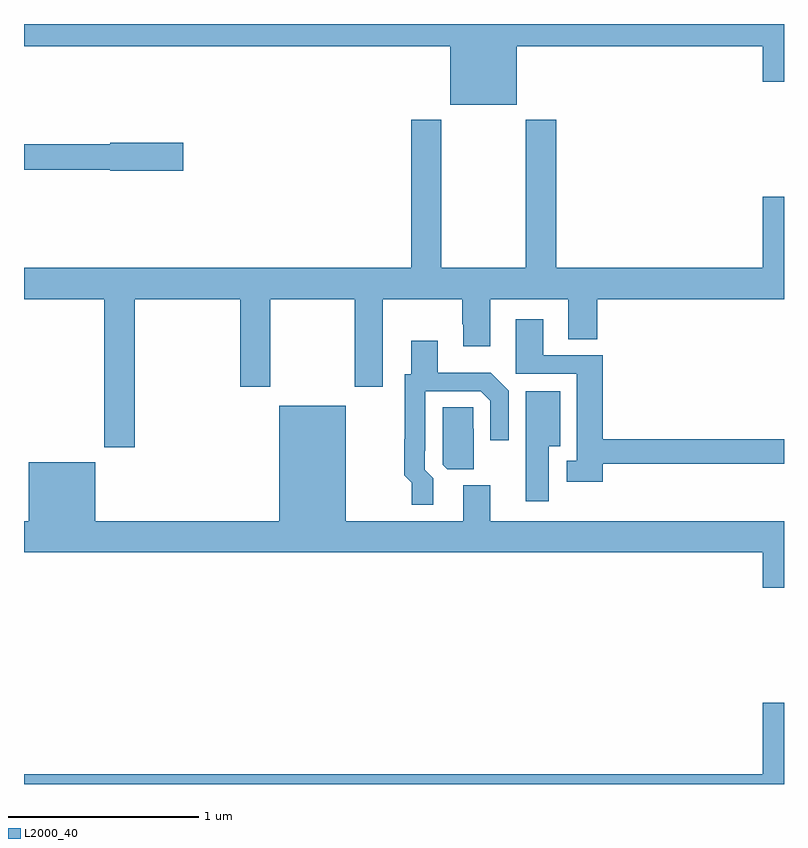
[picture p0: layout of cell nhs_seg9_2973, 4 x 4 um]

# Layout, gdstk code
import gdstk
lib = gdstk.Library(unit=1e-6, precision=1e-09)
def P(c, l, *ps):  # polygons
    for p in ps: c.add(gdstk.Polygon(p, *l))
L2000_40 = (2000, 40)

nhs_seg9_2973 = lib.new_cell('nhs_seg9_2973')
P(nhs_seg9_2973, L2000_40, [(281,1232.384),(283.244,1232.384),(283.244,1232.075),(283.594,1232.075),(283.594,1232.384),(284.888,1232.384),(284.888,1232.196),(285,1232.196),(285,1232.5),(281,1232.5)],
  [(281,1231.052),(281.422,1231.052),(281.422,1230.273),(281.582,1230.273),(281.582,1231.052),(282.137,1231.052),(282.137,1230.591),(282.297,1230.591),(282.297,1231.052),(282.742,1231.052),(282.742,1230.591),(282.889,1230.591),(282.889,1231.052),(283.306,1231.052),(283.306,1230.919),(283.313,1230.919),(283.313,1230.804),(283.453,1230.804),(283.453,1231.052),(283.865,1231.052),(283.865,1230.841),(284.018,1230.841),(284.018,1231.052),(285,1231.052),(285,1231.591),(284.888,1231.591),(284.888,1231.216),(283.802,1231.216),(283.802,1231.996),(283.642,1231.996),(283.642,1231.216),(283.197,1231.216),(283.197,1231.996),(283.037,1231.996),(283.037,1231.216),(281,1231.216)],
  [(281.839,1231.874),(281.454,1231.874),(281.454,1231.868),(281,1231.868),(281,1231.732),(281.454,1231.732),(281.454,1231.727),(281.839,1231.727)],
  [(284.045,1230.186),(285,1230.186),(285,1230.314),(284.045,1230.314),(284.045,1230.756),(283.732,1230.756),(283.732,1230.946),(283.589,1230.946),(283.589,1230.66),(283.91,1230.66),(283.91,1230.202),(283.857,1230.202),(283.857,1230.092),(284.045,1230.092)],
  [(283.153,1230.11),(283.11,1230.153),(283.11,1230.253),(283.113,1230.253),(283.113,1230.567),(283.404,1230.567),(283.455,1230.516),(283.455,1230.309),(283.551,1230.309),(283.551,1230.57),(283.457,1230.664),(283.177,1230.664),(283.177,1230.832),(283.037,1230.832),(283.037,1230.657),(283.005,1230.657),(283.005,1230.314),(283.002,1230.314),(283.002,1230.124),(283.041,1230.086),(283.041,1229.97),(283.153,1229.97)],
  [(283.762,1230.278),(283.822,1230.278),(283.822,1230.568),(283.64,1230.568),(283.64,1229.988),(283.762,1229.988)],
  [(285,1229.884),(283.453,1229.884),(283.453,1230.072),(283.313,1230.072),(283.313,1229.884),(282.694,1229.884),(282.694,1230.49),(282.344,1230.49),(282.344,1229.884),(281.374,1229.884),(281.374,1230.193),(281.024,1230.193),(281.024,1229.884),(281,1229.884),(281,1229.72),(284.888,1229.72),(284.888,1229.532),(285,1229.532)],
  [(283.366,1230.371),(283.365,1230.371),(283.365,1230.482),(283.203,1230.482),(283.203,1230.18),(283.227,1230.157),(283.366,1230.157)],
  [(285,1228.927),(284.888,1228.927),(284.888,1228.552),(281,1228.552),(281,1228.5),(285,1228.5)])

lib.write_gds('nhs_seg9_2973.gds')
